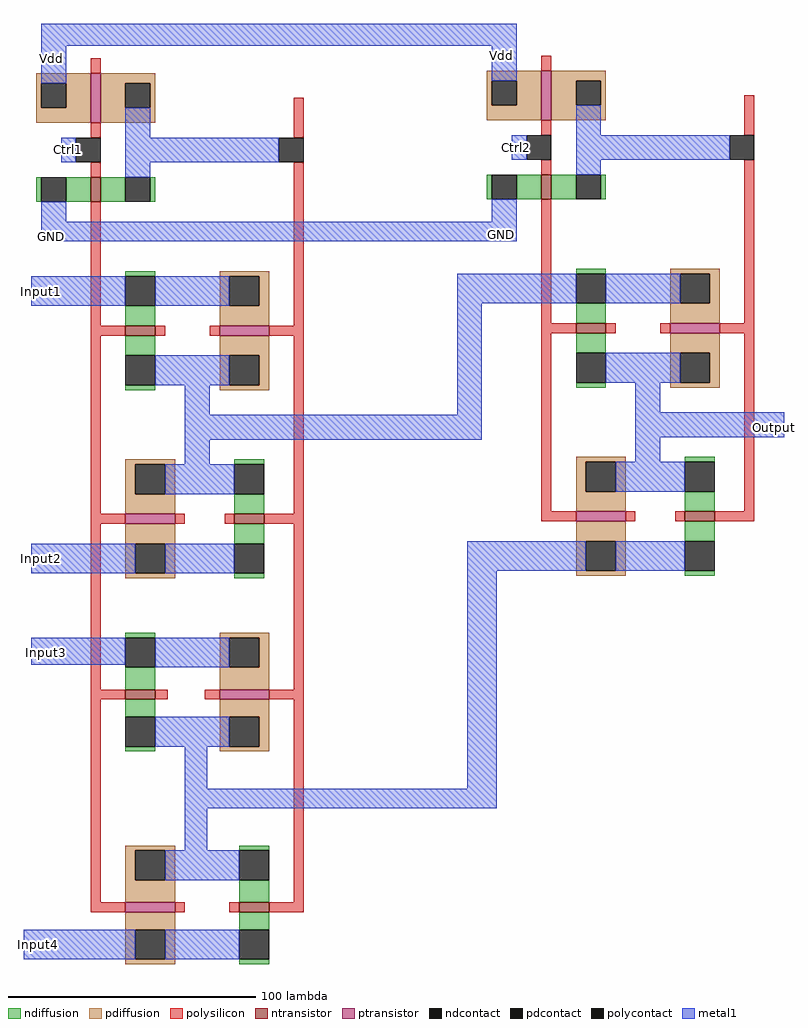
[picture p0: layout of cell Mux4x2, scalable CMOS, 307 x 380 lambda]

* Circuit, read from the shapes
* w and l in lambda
.subckt Mux4x2 Ctrl1 Ctrl2 GND Input1 Input2 Input3 Input4 Output Vdd
M1 n1 Ctrl1 GND VSUBS nfet w=10 l=4
M2 Input3 Ctrl1 n2 VSUBS nfet w=12 l=4
M3 Input1 Ctrl1 n3 VSUBS nfet w=12 l=4
M4 n3 n1 Input2 VSUBS nfet w=12 l=4
M5 n2 n1 Input4 VSUBS nfet w=12 l=4
M6 n4 Ctrl2 GND VSUBS nfet w=10 l=4
M7 n3 Ctrl2 Output VSUBS nfet w=12 l=4
M8 Output n4 n2 VSUBS nfet w=12 l=4
M9 n1 Ctrl1 Vdd NWELL pfet w=20 l=4
M10 n2 Ctrl1 Input4 NWELL pfet w=20 l=4
M11 n3 Ctrl1 Input2 NWELL pfet w=20 l=4
M12 Input3 n1 n2 NWELL pfet w=20 l=4
M13 Input1 n1 n3 NWELL pfet w=20 l=4
M14 n4 Ctrl2 Vdd NWELL pfet w=20 l=4
M15 Output Ctrl2 n2 NWELL pfet w=20 l=4
M16 n3 n4 Output NWELL pfet w=20 l=4
.ends

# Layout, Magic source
magic
tech scmos
<< polysilicon >>
rect 14 213 18 219
rect 196 214 200 220
rect 14 187 18 193
rect 96 187 100 203
rect 196 188 200 194
rect 278 188 282 204
rect 14 171 18 177
rect 14 111 18 161
rect 96 111 100 177
rect 196 172 200 178
rect 14 107 28 111
rect 40 107 44 111
rect 62 107 66 111
rect 86 107 100 111
rect 14 35 18 107
rect 96 35 100 107
rect 14 31 28 35
rect 48 31 52 35
rect 68 31 72 35
rect 84 31 100 35
rect 196 112 200 162
rect 278 112 282 178
rect 196 108 210 112
rect 222 108 226 112
rect 244 108 248 112
rect 268 108 282 112
rect 196 36 200 108
rect 278 36 282 108
rect 196 32 210 36
rect 230 32 234 36
rect 250 32 254 36
rect 266 32 282 36
rect 14 -36 18 31
rect 96 -36 100 31
rect 14 -40 28 -36
rect 40 -40 45 -36
rect 60 -40 66 -36
rect 86 -40 100 -36
rect 14 -122 18 -40
rect 96 -122 100 -40
rect 14 -126 28 -122
rect 48 -126 52 -122
rect 70 -126 74 -122
rect 86 -126 100 -122
<< ndiffusion >>
rect -8 161 -6 171
rect 4 161 14 171
rect 18 161 28 171
rect 38 161 40 171
rect 28 131 40 133
rect 28 111 40 119
rect 174 162 176 172
rect 186 162 196 172
rect 200 162 210 172
rect 220 162 222 172
rect 28 99 40 107
rect 28 85 40 87
rect 72 55 84 57
rect 72 35 84 43
rect 210 132 222 134
rect 210 112 222 120
rect 210 100 222 108
rect 210 86 222 88
rect 254 56 266 58
rect 254 36 266 44
rect 72 23 84 31
rect 72 9 84 11
rect 28 -15 40 -13
rect 28 -36 40 -27
rect 254 24 266 32
rect 254 10 266 12
rect 28 -47 40 -40
rect 28 -61 40 -59
rect 74 -101 86 -99
rect 74 -122 86 -113
rect 74 -133 86 -126
rect 74 -147 86 -145
<< pdiffusion >>
rect -8 209 14 213
rect -8 199 -6 209
rect 4 199 14 209
rect -8 193 14 199
rect 18 209 40 213
rect 18 199 28 209
rect 38 199 40 209
rect 174 210 196 214
rect 18 193 40 199
rect 174 200 176 210
rect 186 200 196 210
rect 174 194 196 200
rect 200 210 222 214
rect 200 200 210 210
rect 220 200 222 210
rect 200 194 222 200
rect 66 131 86 133
rect 66 119 70 131
rect 82 119 86 131
rect 66 111 86 119
rect 66 99 86 107
rect 66 87 70 99
rect 82 87 86 99
rect 66 85 86 87
rect 28 55 48 57
rect 28 43 32 55
rect 44 43 48 55
rect 28 35 48 43
rect 248 132 268 134
rect 248 120 252 132
rect 264 120 268 132
rect 248 112 268 120
rect 248 100 268 108
rect 248 88 252 100
rect 264 88 268 100
rect 248 86 268 88
rect 210 56 230 58
rect 210 44 214 56
rect 226 44 230 56
rect 210 36 230 44
rect 28 23 48 31
rect 28 11 32 23
rect 44 11 48 23
rect 28 9 48 11
rect 66 -15 86 -13
rect 66 -27 70 -15
rect 82 -27 86 -15
rect 66 -36 86 -27
rect 210 24 230 32
rect 210 12 214 24
rect 226 12 230 24
rect 210 10 230 12
rect 66 -47 86 -40
rect 66 -59 70 -47
rect 82 -59 86 -47
rect 66 -61 86 -59
rect 28 -101 48 -99
rect 28 -113 32 -101
rect 44 -113 48 -101
rect 28 -122 48 -113
rect 28 -133 48 -126
rect 28 -145 32 -133
rect 44 -145 48 -133
rect 28 -147 48 -145
<< metal1 >>
rect -6 224 186 233
rect -6 209 4 224
rect 176 210 186 224
rect 28 187 38 199
rect 210 188 220 200
rect 2 177 8 187
rect 28 177 90 187
rect 184 178 190 188
rect 210 178 272 188
rect 28 171 38 177
rect 210 172 220 178
rect -6 153 4 161
rect 176 153 186 162
rect -6 145 186 153
rect -10 119 28 131
rect 40 119 70 131
rect 162 120 210 132
rect 222 120 252 132
rect 40 87 70 99
rect 52 75 62 87
rect 162 75 172 120
rect 222 88 252 100
rect 52 65 172 75
rect 234 76 244 88
rect 234 66 294 76
rect 52 55 62 65
rect 234 56 244 66
rect 44 43 72 55
rect 226 44 254 56
rect -10 11 32 23
rect 44 11 72 23
rect 166 12 214 24
rect 226 12 254 24
rect -10 -26 28 -15
rect 40 -27 70 -15
rect 40 -59 70 -47
rect 52 -76 61 -59
rect 166 -76 178 12
rect 52 -84 178 -76
rect 52 -101 61 -84
rect 44 -113 74 -101
rect -13 -145 32 -133
rect 44 -145 74 -133
<< ntransistor >>
rect 14 161 18 171
rect 196 162 200 172
rect 28 107 40 111
rect 72 31 84 35
rect 210 108 222 112
rect 254 32 266 36
rect 28 -40 40 -36
rect 74 -126 86 -122
<< ptransistor >>
rect 14 193 18 213
rect 196 194 200 214
rect 66 107 86 111
rect 28 31 48 35
rect 248 108 268 112
rect 210 32 230 36
rect 66 -40 86 -36
rect 28 -126 48 -122
<< polycontact >>
rect 8 177 18 187
rect 90 177 100 187
rect 190 178 200 188
rect 272 178 282 188
<< ndcontact >>
rect -6 161 4 171
rect 28 161 38 171
rect 28 119 40 131
rect 176 162 186 172
rect 210 162 220 172
rect 28 87 40 99
rect 72 43 84 55
rect 210 120 222 132
rect 210 88 222 100
rect 254 44 266 56
rect 72 11 84 23
rect 28 -27 40 -15
rect 254 12 266 24
rect 28 -59 40 -47
rect 74 -113 86 -101
rect 74 -145 86 -133
<< pdcontact >>
rect -6 199 4 209
rect 28 199 38 209
rect 176 200 186 210
rect 210 200 220 210
rect 70 119 82 131
rect 70 87 82 99
rect 32 43 44 55
rect 252 120 264 132
rect 252 88 264 100
rect 214 44 226 56
rect 32 11 44 23
rect 70 -27 82 -15
rect 214 12 226 24
rect 70 -59 82 -47
rect 32 -113 44 -101
rect 32 -145 44 -133
<< labels >>
rlabel metal1 -2 219 -2 219 5 Vdd
rlabel metal1 -2 147 -2 147 1 GND
rlabel metal1 -6 125 -6 125 3 Input1
rlabel metal1 -6 17 -6 17 3 Input2
rlabel metal1 180 220 180 220 5 Vdd
rlabel metal1 180 148 180 148 1 GND
rlabel metal1 290 70 290 70 7 Output
rlabel metal1 5 182 5 182 1 Ctrl1
rlabel metal1 186 183 186 183 1 Ctrl2
rlabel metal1 -4 -21 -4 -21 1 Input3
rlabel metal1 -7 -139 -7 -139 1 Input4
<< end >>
